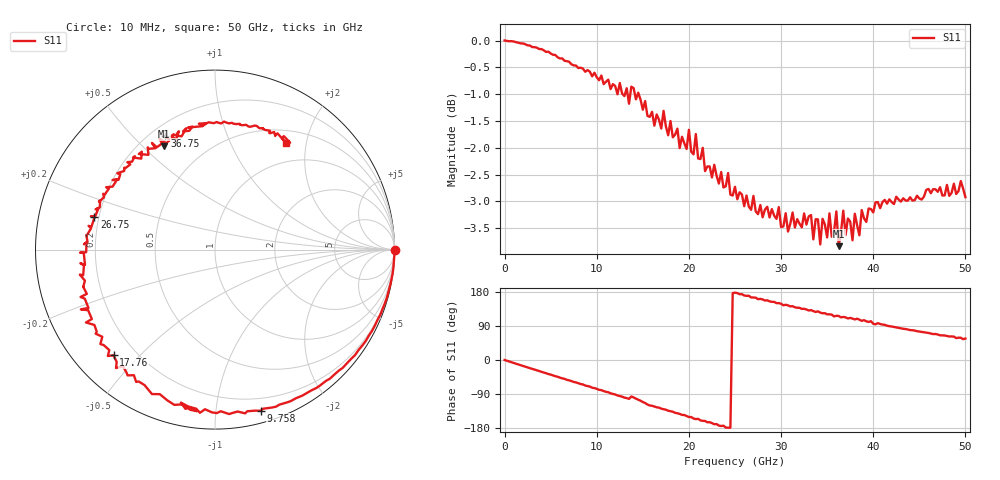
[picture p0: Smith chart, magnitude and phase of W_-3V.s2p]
!Agilent Technologies,N5227A,US51270434,A.10.00.00
!Agilent N5227A: A.10.00.00
!Date: Friday, February 13, 2026 14:20:38
!Correction: S11(Full 1 Port(1))
!S21(Off)
!S12(Off)
!S22(Off)
!S2P File: Measurements: S11, S21, S12, S22:
# Hz S  dB  R 50
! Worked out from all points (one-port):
!   201 points, 10 MHz to 50 GHz, reference 50 ohm
!   lowest |S11| = -3.8 dB at 36.25 GHz (marker M1), VSWR 4.60, Z = 14.8 + j29.1 ohm
!   |S11| at or under -10 dB: nowhere
!   S11 on the Smith chart (normalised r, x): 10 MHz: open; 9.758 GHz: 0.09, -1.32; 17.76 GHz: 0.12, -0.42; 26.75 GHz: 0.18, +0.13; 36.75 GHz: 0.25, +0.62; 50 GHz: 0.68, +1.65
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1e7  0.01 -0.0  -200.00 45.0  -200.00 45.0  -200.00 45.0
3.75925e9  -0.16 -29.1  -200.00 45.0  -200.00 45.0  -200.00 45.0
6.25875e9  -0.33 -48.4  -200.00 45.0  -200.00 45.0  -200.00 45.0
8.5083e9  -0.52 -64.5  -200.00 45.0  -200.00 45.0  -200.00 45.0
9.75805e9  -0.60 -74.2  -200.00 45.0  -200.00 45.0  -200.00 45.0
1.25075e10  -0.79 -95.3  -200.00 45.0  -200.00 45.0  -200.00 45.0
1.35073e10  -1.18 -102.5  -200.00 45.0  -200.00 45.0  -200.00 45.0
1.375725e10  -0.86 -96.3  -200.00 45.0  -200.00 45.0  -200.00 45.0
1.55069e10  -1.40 -117.5  -200.00 45.0  -200.00 45.0  -200.00 45.0
1.675665e10  -1.47 -125.7  -200.00 45.0  -200.00 45.0  -200.00 45.0
1.775645e10  -1.77 -133.9  -200.00 45.0  -200.00 45.0  -200.00 45.0
2.075585e10  -1.74 -156.0  -200.00 45.0  -200.00 45.0  -200.00 45.0
2.5005e10  -2.73 177.7  -200.00 45.0  -200.00 45.0  -200.00 45.0
2.675465e10  -3.16 165.0  -200.00 45.0  -200.00 45.0  -200.00 45.0
2.975405e10  -3.11 150.2  -200.00 45.0  -200.00 45.0  -200.00 45.0
3.35033e10  -3.71 129.0  -200.00 45.0  -200.00 45.0  -200.00 45.0
3.60028e10  -3.19 116.7  -200.00 45.0  -200.00 45.0  -200.00 45.0
3.625275e10  -3.84 116.3  -200.00 45.0  -200.00 45.0  -200.00 45.0
3.675265e10  -3.17 113.7  -200.00 45.0  -200.00 45.0  -200.00 45.0
3.975205e10  -3.14 102.4  -200.00 45.0  -200.00 45.0  -200.00 45.0
4.175165e10  -2.96 89.2  -200.00 45.0  -200.00 45.0  -200.00 45.0
5e10  -2.92 56.6  -200.00 45.0  -200.00 45.0  -200.00 45.0
